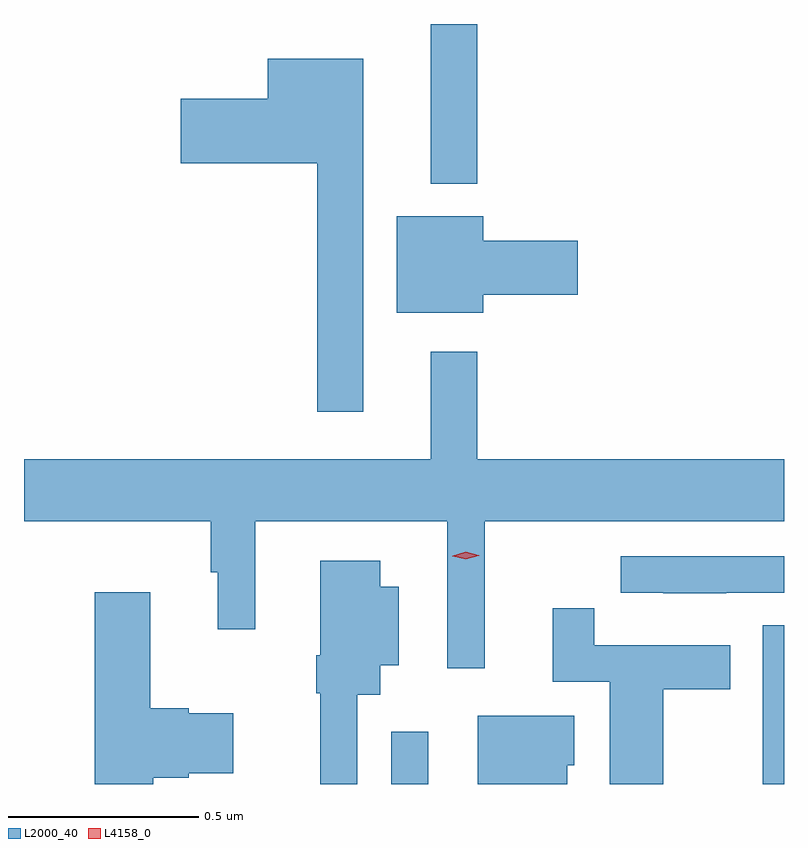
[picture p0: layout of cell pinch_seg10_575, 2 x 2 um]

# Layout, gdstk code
import gdstk
lib = gdstk.Library(unit=1e-6, precision=1e-09)
def R(c, l, rs):  # rectangles x0, y0, x1, y1
    for r in rs: c.add(gdstk.rectangle(r[:2], r[2:], *l))
def P(c, l, *ps):  # polygons
    for p in ps: c.add(gdstk.Polygon(p, *l))
L2000_40 = (2000, 40)
L4158_0 = (4158, 0)

pinch_seg10_575 = lib.new_cell('pinch_seg10_575')
R(pinch_seg10_575, L2000_40, [(277.575,1263.661,277.672,1263.799), (278.552,1263.661,278.608,1264.079), (277.679,1265.24,277.801,1265.661)])
P(pinch_seg10_575, L2000_40, [(277.501,1265.569),(277.25,1265.569),(277.25,1265.464),(277.02,1265.464),(277.02,1265.294),(277.38,1265.294),(277.38,1264.641),(277.501,1264.641)],
  [(277.816,1264.948),(278.065,1264.948),(278.065,1265.09),(277.816,1265.09),(277.816,1265.155),(277.589,1265.155),(277.589,1264.901),(277.816,1264.901)],
  [(277.82,1264.352),(278.608,1264.352),(278.608,1264.516),(277.801,1264.516),(277.801,1264.798),(277.679,1264.798),(277.679,1264.516),(276.608,1264.516),(276.608,1264.352),(277.099,1264.352),(277.099,1264.218),(277.118,1264.218),(277.118,1264.068),(277.216,1264.068),(277.216,1264.352),(277.722,1264.352),(277.722,1263.966),(277.82,1263.966)],
  [(278.456,1264.164),(278.608,1264.164),(278.608,1264.26),(278.178,1264.26),(278.178,1264.164),(278.29,1264.164),(278.29,1264.163),(278.456,1264.163)],
  [(277.485,1263.896),(277.546,1263.896),(277.546,1263.974),(277.594,1263.974),(277.594,1264.18),(277.546,1264.18),(277.546,1264.249),(277.388,1264.249),(277.388,1264),(277.377,1264),(277.377,1263.9),(277.387,1263.9),(277.387,1263.661),(277.485,1263.661)],
  [(276.948,1263.677),(277.041,1263.677),(277.041,1263.689),(277.159,1263.689),(277.159,1263.847),(277.041,1263.847),(277.041,1263.86),(276.94,1263.86),(276.94,1264.165),(276.794,1264.165),(276.794,1263.661),(276.948,1263.661)],
  [(278.29,1263.91),(278.467,1263.91),(278.467,1264.026),(278.108,1264.026),(278.108,1264.123),(278,1264.123),(278,1263.93),(278.15,1263.93),(278.15,1263.661),(278.29,1263.661)],
  [(278.038,1263.711),(278.056,1263.711),(278.056,1263.841),(277.802,1263.841),(277.802,1263.661),(278.038,1263.661)])
P(pinch_seg10_575, L4158_0, [(277.771,1264.252),(277.736,1264.261),(277.735,1264.261),(277.736,1264.262),(277.77,1264.272),(277.805,1264.263),(277.806,1264.262),(277.805,1264.262)])

lib.write_gds('pinch_seg10_575.gds')
